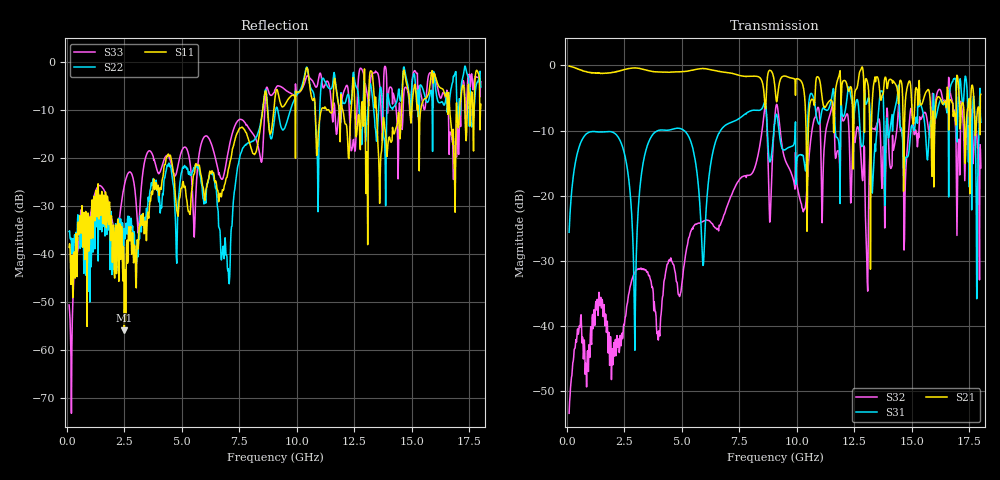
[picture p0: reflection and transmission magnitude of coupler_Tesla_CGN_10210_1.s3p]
#  HZ  S  MA  R  50.00
! Rohde & Schwarz ZVA67 4Ports - Version 4.11 - 1305.7002k04 SN: 101051
! Date: 2023-03-28 15:31:20
! Measurements: S11 S12 S13 S21 S22 S23 S31 S32 S33
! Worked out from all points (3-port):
!   896 points, 100 MHz to 18 GHz, reference 50 ohm
!   strongest paths, dB at 100 MHz, 4.58 GHz, 9.06 GHz, 13.54 GHz, 18 GHz:
!     S21: -0.1, -1.0, -3.8, -2.1, -4.4
!     S31: -25.6, -9.8, -8.2, -7.5, -8.7
!     S32: -53.4, -30.2, -7.2, -8.3, -15.7
!   lowest |S11| = -55.9 dB at 2.5 GHz (marker M1), VSWR 1.00, Z = 49.9 - j0.152 ohm
!   |S11| at or under -10 dB: start of sweep to 8.514 GHz; 12 GHz to 12.36 GHz (357.1 MHz wide, 2.93 % of centre); 13.46 GHz to 14.55 GHz (1.094 GHz wide, 7.81 % of centre)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
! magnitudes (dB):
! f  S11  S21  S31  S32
! 100 MHz  -38.6  -0.1  -25.6  -53.4
! 2.5 GHz  -55.9  -0.6  -13.5  -39.9
! 2.96 GHz  -38.4  -0.4  -43.7  -31.7
! 3.66 GHz  -28.0  -0.9  -11.0  -33.1
! 5.66 GHz  -21.5  -0.6  -16.5  -24.3
! 7.02 GHz  -22.4  -1.1  -8.9  -21.2
! 7.58 GHz  -13.6  -1.6  -7.9  -17.2
! 9.06 GHz  -7.1  -3.8  -8.2  -7.2
! 16.86 GHz  -25.5  -7.4  -2.0  -7.8
! 18 GHz  -8.8  -4.4  -8.7  -15.7
